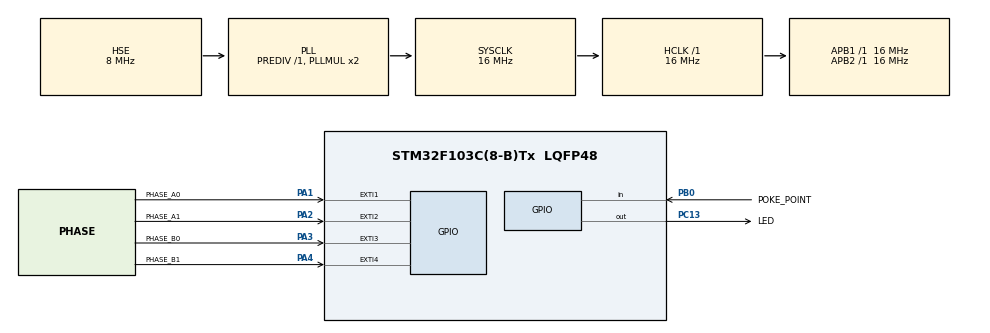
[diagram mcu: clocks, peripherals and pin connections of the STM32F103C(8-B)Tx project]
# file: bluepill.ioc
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FREERTOS.Tasks01=blink,8,128,start_blink,Default,NULL,Static,blinkBuffer,blinkControlBlock;adcmon,24,256,start_adcmon,Default,NULL,Dynamic,NULL,NULL;lcdhandler,16,256,start_lcdhandler,Default,NULL,Dynamic,NULL,NULL
FREERTOS.configUSE_NEWLIB_REENTRANT=1
Mcu.Family=STM32F1
Mcu.Name=STM32F103C(8-B)Tx
Mcu.Package=LQFP48
NVIC.EXTI1_IRQn=true\:0\:0\:true\:false\:true\:false\:true\:true\:true
NVIC.EXTI2_IRQn=true\:1\:0\:true\:false\:true\:false\:true\:true\:true
NVIC.EXTI3_IRQn=true\:2\:0\:true\:false\:true\:false\:true\:true\:true
NVIC.EXTI4_IRQn=true\:3\:0\:true\:false\:true\:false\:true\:true\:true
NVIC.PriorityGroup=NVIC_PRIORITYGROUP_4
NVIC.TIM4_IRQn=true\:15\:0\:false\:false\:true\:false\:false\:true\:true
NVIC.TimeBase=TIM4_IRQn
NVIC.TimeBaseIP=TIM4
PA1.GPIO_Label=PHASE_A0
PA1.GPIO_PuPd=GPIO_PULLUP
PA1.Signal=GPXTI1
PA13.Mode=Trace_Asynchronous_SW
PA13.Signal=SYS_JTMS-SWDIO
PA14.Mode=Trace_Asynchronous_SW
PA14.Signal=SYS_JTCK-SWCLK
PA2.GPIO_Label=PHASE_A1
PA2.GPIO_PuPd=GPIO_PULLUP
PA2.Signal=GPXTI2
PA3.GPIO_Label=PHASE_B0
PA3.GPIO_PuPd=GPIO_PULLUP
PA3.Signal=GPXTI3
PA4.GPIO_Label=PHASE_B1
PA4.GPIO_PuPd=GPIO_PULLUP
PA4.Signal=GPXTI4
PB0.GPIO_Label=POKE_POINT
PB0.Signal=GPIO_Input
PB3.Mode=Trace_Asynchronous_SW
PB3.Signal=SYS_JTDO-TRACESWO
PC13-TAMPER-RTC.GPIO_Label=LED
PC13-TAMPER-RTC.PinState=GPIO_PIN_SET
PC13-TAMPER-RTC.Signal=GPIO_Output
PD0-OSC_IN.Mode=HSE-External-Oscillator
PD0-OSC_IN.Signal=RCC_OSC_IN
PD1-OSC_OUT.Mode=HSE-External-Oscillator
PD1-OSC_OUT.Signal=RCC_OSC_OUT
ProjectManager.HeapSize=0x200
ProjectManager.StackSize=0x400
ProjectManager.TargetToolchain=STM32CubeIDE
RCC.AHBFreq_Value=16000000
RCC.APB1Freq_Value=16000000
RCC.APB1TimFreq_Value=16000000
RCC.APB2Freq_Value=16000000
RCC.APB2TimFreq_Value=16000000
RCC.HCLKFreq_Value=16000000
RCC.PLLSourceVirtual=RCC_PLLSOURCE_HSE
RCC.SYSCLKFreq_VALUE=16000000
RCC.SYSCLKSource=RCC_SYSCLKSOURCE_PLLCLK
RCC.USBFreq_Value=16000000
VP_FREERTOS_VS_CMSIS_V2.Mode=CMSIS_V2
VP_SYS_VS_tim4.Mode=TIM4
board=custom

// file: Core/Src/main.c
/* USER CODE BEGIN Header */
/**
 ******************************************************************************
 * @file           : main.c
 * @brief          : Main program body
 ******************************************************************************
 * @attention
 *
 * Copyright (c) 2022 STMicroelectronics.
 * All rights reserved.
 *
 * This software is licensed under terms that can be found in the LICENSE file
 * in the root directory of this software component.
 * If no LICENSE file comes with this software, it is provided AS-IS.
 *
 ******************************************************************************
 */
/* USER CODE END Header */
#include "main.h"
#include "cmsis_os.h"

/* USER CODE BEGIN Includes */
#include "stdio.h"
/* USER CODE END Includes */

typedef StaticTask_t osStaticThreadDef_t;

/* Definitions for blink */
osThreadId_t blinkHandle;
uint32_t blinkBuffer[128];
osStaticThreadDef_t blinkControlBlock;
const osThreadAttr_t blink_attributes = { .name = "blink", .cb_mem =
		&blinkControlBlock, .cb_size = sizeof(blinkControlBlock), .stack_mem =
		&blinkBuffer[0], .stack_size = sizeof(blinkBuffer), .priority =
		(osPriority_t) osPriorityLow, };
/* Definitions for adcmon */
osThreadId_t adcmonHandle;
const osThreadAttr_t adcmon_attributes = { .name = "adcmon", .stack_size = 256
		* 4, .priority = (osPriority_t) osPriorityNormal, };
/* Definitions for lcdhandler */
osThreadId_t lcdhandlerHandle;
const osThreadAttr_t lcdhandler_attributes =
		{ .name = "lcdhandler", .stack_size = 256 * 4, .priority =
				(osPriority_t) osPriorityBelowNormal, };
/* USER CODE BEGIN PV */
const double PI = 3.14;

const double encoder_A_pulses_per_rot = 600.0; // 600 pulses per full rotation
const double wheel_A_diameter = 10.0; // in mm
const double wheel_A_rot_per_pulse = 2 * PI * wheel_A_diameter
		/ encoder_A_pulses_per_rot;

const double encoder_B_pulses_per_rot = 100; // 100 pulses per full rotation
const double wheel_B_diameter = 10; // in mm
const double wheel_B_rot_per_pulse = 2 * PI * wheel_B_diameter
		/ encoder_B_pulses_per_rot;

uint32_t reel_A_degrees = 0;
uint8_t count_to_5 = 0;

double reel_A_position = 0.0;
uint8_t encoder_A_phase_0 = 0;
uint8_t encoder_A_phase_1 = 0;
uint32_t reel_A_pulses = 0;

double reel_B_position = 0.0;
uint8_t encoder_B_phase_0 = 0;
uint8_t encoder_B_phase_1 = 0;
uint32_t reel_B_pulses = 0;

/* USER CODE END PV */

void SystemClock_Config(void);
static void MX_GPIO_Init(void);
void start_blink(void *argument);
void start_adcmon(void *argument);
void start_lcdhandler(void *argument);

int main(void) {

	/* MCU Configuration--------------------------------------------------------*/

	/* Reset of all peripherals, Initializes the Flash interface and the Systick. */
	HAL_Init();

	/* Configure the system clock */
	SystemClock_Config();

	/* Initialize all configured peripherals */
	MX_GPIO_Init();

	/* Init scheduler */
	osKernelInitialize();

	/* Create the thread(s) */
	/* creation of blink */
	blinkHandle = osThreadNew(start_blink, NULL, &blink_attributes);

	/* creation of adcmon */
	adcmonHandle = osThreadNew(start_adcmon, NULL, &adcmon_attributes);

	/* creation of lcdhandler */
	lcdhandlerHandle = osThreadNew(start_lcdhandler, NULL,
			&lcdhandler_attributes);

	/* Start scheduler */
	osKernelStart();

	/* We should never get here as control is now taken by the scheduler */
	/* Infinite loop */
	while (1) {

	}
}

void SystemClock_Config(void) {
	RCC_OscInitTypeDef RCC_OscInitStruct = { 0 };
	RCC_ClkInitTypeDef RCC_ClkInitStruct = { 0 };

	/** Initializes the RCC Oscillators according to the specified parameters
	 * in the RCC_OscInitTypeDef structure.
	 */
	RCC_OscInitStruct.OscillatorType = RCC_OSCILLATORTYPE_HSE;
	RCC_OscInitStruct.HSEState = RCC_HSE_ON;
	RCC_OscInitStruct.HSEPredivValue = RCC_HSE_PREDIV_DIV1;
	RCC_OscInitStruct.HSIState = RCC_HSI_ON;
	RCC_OscInitStruct.PLL.PLLState = RCC_PLL_ON;
	RCC_OscInitStruct.PLL.PLLSource = RCC_PLLSOURCE_HSE;
	RCC_OscInitStruct.PLL.PLLMUL = RCC_PLL_MUL2;
	if (HAL_RCC_OscConfig(&RCC_OscInitStruct) != HAL_OK) {
		Error_Handler();
	}

	/** Initializes the CPU, AHB and APB buses clocks
	 */
	RCC_ClkInitStruct.ClockType = RCC_CLOCKTYPE_HCLK | RCC_CLOCKTYPE_SYSCLK
			| RCC_CLOCKTYPE_PCLK1 | RCC_CLOCKTYPE_PCLK2;
	RCC_ClkInitStruct.SYSCLKSource = RCC_SYSCLKSOURCE_PLLCLK;
	RCC_ClkInitStruct.AHBCLKDivider = RCC_SYSCLK_DIV1;
	RCC_ClkInitStruct.APB1CLKDivider = RCC_HCLK_DIV1;
	RCC_ClkInitStruct.APB2CLKDivider = RCC_HCLK_DIV1;

	if (HAL_RCC_ClockConfig(&RCC_ClkInitStruct, FLASH_LATENCY_0) != HAL_OK) {
		Error_Handler();
	}
}

static void MX_GPIO_Init(void) {
	GPIO_InitTypeDef GPIO_InitStruct = { 0 };

	/* GPIO Ports Clock Enable */
	__HAL_RCC_GPIOC_CLK_ENABLE();
	__HAL_RCC_GPIOD_CLK_ENABLE();
	__HAL_RCC_GPIOA_CLK_ENABLE();
	__HAL_RCC_GPIOB_CLK_ENABLE();

	/*Configure GPIO pin Output Level */
	HAL_GPIO_WritePin(LED_GPIO_Port, LED_Pin, GPIO_PIN_SET);

	/*Configure GPIO pin : LED_Pin */
	GPIO_InitStruct.Pin = LED_Pin;
	GPIO_InitStruct.Mode = GPIO_MODE_OUTPUT_PP;
	GPIO_InitStruct.Pull = GPIO_NOPULL;
	GPIO_InitStruct.Speed = GPIO_SPEED_FREQ_LOW;
	HAL_GPIO_Init(LED_GPIO_Port, &GPIO_InitStruct);

	/*Configure GPIO pins : PHASE_A0_Pin PHASE_A1_Pin PHASE_B0_Pin PHASE_B1_Pin */
	GPIO_InitStruct.Pin = PHASE_A0_Pin | PHASE_A1_Pin | PHASE_B0_Pin
			| PHASE_B1_Pin;
	GPIO_InitStruct.Mode = GPIO_MODE_IT_RISING;
	GPIO_InitStruct.Pull = GPIO_PULLUP;
	HAL_GPIO_Init(GPIOA, &GPIO_InitStruct);

	/*Configure GPIO pin : POKE_POINT_Pin */
	GPIO_InitStruct.Pin = POKE_POINT_Pin;
	GPIO_InitStruct.Mode = GPIO_MODE_INPUT;
	GPIO_InitStruct.Pull = GPIO_NOPULL;
	HAL_GPIO_Init(POKE_POINT_GPIO_Port, &GPIO_InitStruct);

	/* EXTI interrupt init*/
	HAL_NVIC_SetPriority(EXTI1_IRQn, 0, 0);
	HAL_NVIC_EnableIRQ(EXTI1_IRQn);

	HAL_NVIC_SetPriority(EXTI2_IRQn, 1, 0);
	HAL_NVIC_EnableIRQ(EXTI2_IRQn);

	HAL_NVIC_SetPriority(EXTI3_IRQn, 2, 0);
	HAL_NVIC_EnableIRQ(EXTI3_IRQn);

	HAL_NVIC_SetPriority(EXTI4_IRQn, 3, 0);
	HAL_NVIC_EnableIRQ(EXTI4_IRQn);

}

/* USER CODE BEGIN 4 */

int _write(int file, char *ptr, int len) {
	for (int DataIdx = 0; DataIdx < len; DataIdx++)
		ITM_SendChar(*ptr++);

	return len;
}

void HAL_GPIO_EXTI_Callback(uint16_t GPIO_Pin) {
	if (GPIO_Pin == PHASE_A0_Pin) {
		// set encoder A phase 0 state variable
		encoder_A_phase_0 = 1;
		if (encoder_A_phase_1) {
			// phase 1 ahead of phase 0 on encoder A:
			// means reel A is retracting
			encoder_A_phase_0 = 0;
			encoder_A_phase_1 = 0;
			reel_A_pulses++;
			reel_A_degrees += 6;
			reel_A_position -= wheel_A_rot_per_pulse;
			HAL_GPIO_TogglePin(LED_GPIO_Port, LED_Pin);
		}
	} else if (GPIO_Pin == PHASE_A1_Pin) {
		// set encoder A phase 1 state variable
		encoder_A_phase_1 = 1;
		if (encoder_A_phase_0) {
			// phase 0 ahead of phase 1 on encoder A:
			// means reel A is feeding out
			encoder_A_phase_0 = 0;
			encoder_A_phase_1 = 0;
			reel_A_pulses++;
			reel_A_degrees += 6;
			reel_A_position -= wheel_A_rot_per_pulse;
			HAL_GPIO_TogglePin(LED_GPIO_Port, LED_Pin);
		}
	}
}

/* USER CODE END 4 */

void start_blink(void *argument) {
	/* USER CODE BEGIN 5 */
	/* Infinite loop */
	for (;;) {
//		HAL_GPIO_TogglePin(LED_GPIO_Port, LED_Pin);
		osDelay(500);
	}
	/* USER CODE END 5 */
}

void start_adcmon(void *argument) {
	/* USER CODE BEGIN start_adcmon */
	/* Infinite loop */
	for (;;) {

		osDelay(100);
	}
	/* USER CODE END start_adcmon */
}

void start_lcdhandler(void *argument) {
	/* USER CODE BEGIN start_lcdhandler */
	/* Infinite loop */
	for (;;) {
		printf("%lu Reel A degrees: %lu\n", HAL_GetTick(), reel_A_degrees);
		osDelay(50);
	}
	/* USER CODE END start_lcdhandler */
}

void HAL_TIM_PeriodElapsedCallback(TIM_HandleTypeDef *htim) {
	if (htim->Instance == TIM4) {
		HAL_IncTick();
	}
}

void Error_Handler(void) {
	__disable_irq();
	while (1) {
	}
}
